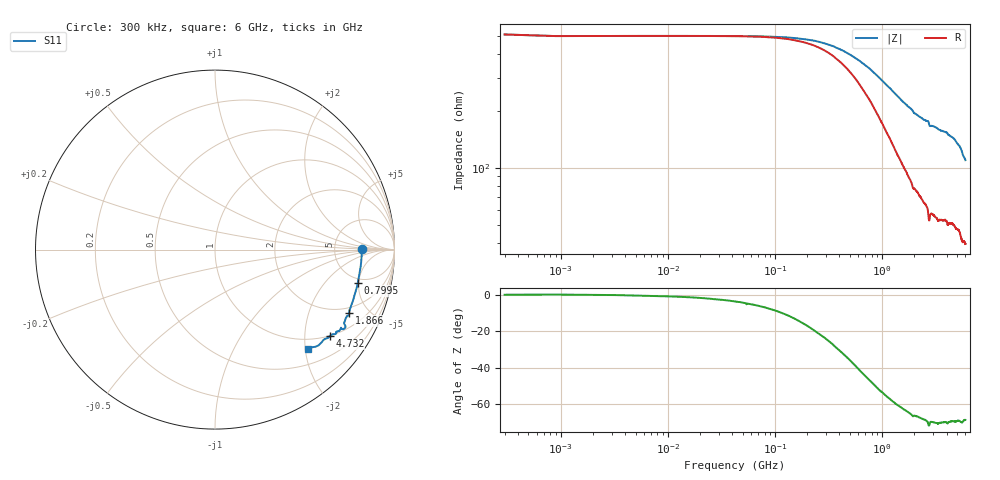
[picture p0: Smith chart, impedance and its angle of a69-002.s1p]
!  3/12/2021  07:53:36
! Ref Plane: 23.990 mm
# MHZ S MA R  50
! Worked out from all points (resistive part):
!   10001 points, 300 kHz to 6 GHz, reference 50 ohm
!   read as one part to ground: R = 498 ohm at 30.3 MHz
!   S11 on the Smith chart (normalised r, x): 300 kHz: 10, +0; 799.5 MHz: 4.38, -4.87; 1.866 GHz: 1.69, -3.74; 4.732 GHz: 0.98, -2.66; 6 GHz: 0.79, -2.05
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0.3  0.8206 0.0
390.8805  0.8166 -6.8
750.2625  0.8171 -12.4
799.46  0.8168 -13.1
1105.445  0.8181 -17.4
1500.225  0.8198 -22.0
1865.607  0.8256 -25.3
1962.202  0.8261 -26.6
2250.188  0.8243 -28.2
2542.373  0.8275 -29.6
2653.967  0.8329 -30.0
2716.364  0.8448 -30.6
2761.962  0.8418 -31.7
2824.359  0.8267 -31.9
3000.15  0.827 -31.9
3359.532  0.8272 -33.3
3750.113  0.8185 -34.0
3891.705  0.8161 -34.1
4060.897  0.8201 -34.6
4174.291  0.8121 -35.4
4500.075  0.8042 -36.2
4731.663  0.8013 -37.1
5250.038  0.7867 -40.0
5459.427  0.7869 -41.6
5573.421  0.7852 -42.9
5650.217  0.7786 -44.0
5755.812  0.7677 -45.0
6000  0.7565 -47.0
